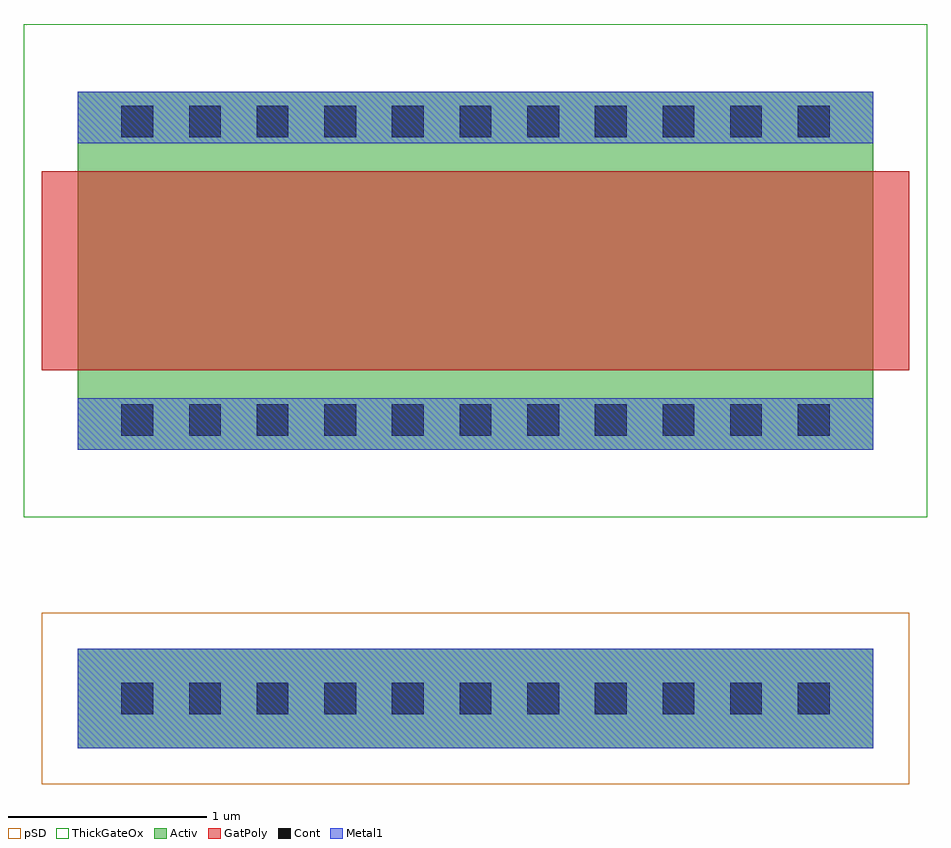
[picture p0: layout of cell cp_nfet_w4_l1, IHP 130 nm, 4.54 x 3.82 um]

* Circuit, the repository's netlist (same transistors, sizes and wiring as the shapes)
* extracted by klt extract --deck sg13cmos5l

* cell cp_nfet_w4_l1
* pin vsubs
.SUBCKT cp_nfet_w4_l1 vsubs
* device instance $1 r0 *1 3.3,3.36 nfet
X$1 \$2 \$1 \$3 vsubs sg13_hv_nmos L=1U W=4U AS=1.6P AD=1.6P PS=8.8U PD=8.8U
.ENDS cp_nfet_w4_l1

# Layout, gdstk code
import gdstk
lib = gdstk.Library(unit=1e-6, precision=1e-09)
def R(c, l, rs):  # rectangles x0, y0, x1, y1
    for r in rs: c.add(gdstk.rectangle(r[:2], r[2:], *l))
def A(c, l, x, y, w, h, nx, ny, dx, dy):  # array of equal rectangles
    R(c, l, [(x+i*dx, y+j*dy, x+i*dx+w, y+j*dy+h) for i in range(nx) for j in range(ny)])
Activ = (1, 0)
GatPoly = (5, 0)
Cont = (6, 0)
Metal1 = (8, 0)
pSD = (14, 0)
ThickGateOx = (44, 0)

cp_nfet_w4_l1 = lib.new_cell('cp_nfet_w4_l1')
R(cp_nfet_w4_l1, Activ, [(0.89,0.96,4.89,1.46), (0.89,2.46,4.89,4.26)])
R(cp_nfet_w4_l1, GatPoly, [(0.71,2.86,5.07,3.86)])
A(cp_nfet_w4_l1, Cont, 1.11, 1.13, 0.16, 0.16, 11, 2, 0.34, 1.4)
A(cp_nfet_w4_l1, Cont, 1.11, 4.03, 0.16, 0.16, 11, 1, 0.34, 0)
R(cp_nfet_w4_l1, Metal1, [(0.89,0.96,4.89,1.46), (0.89,2.46,4.89,2.72), (0.89,4,4.89,4.26)])
R(cp_nfet_w4_l1, pSD, [(0.71,0.78,5.07,1.64)])
R(cp_nfet_w4_l1, ThickGateOx, [(0.62,2.12,5.16,4.6)])

lib.write_gds('cp_nfet_w4_l1.gds')
